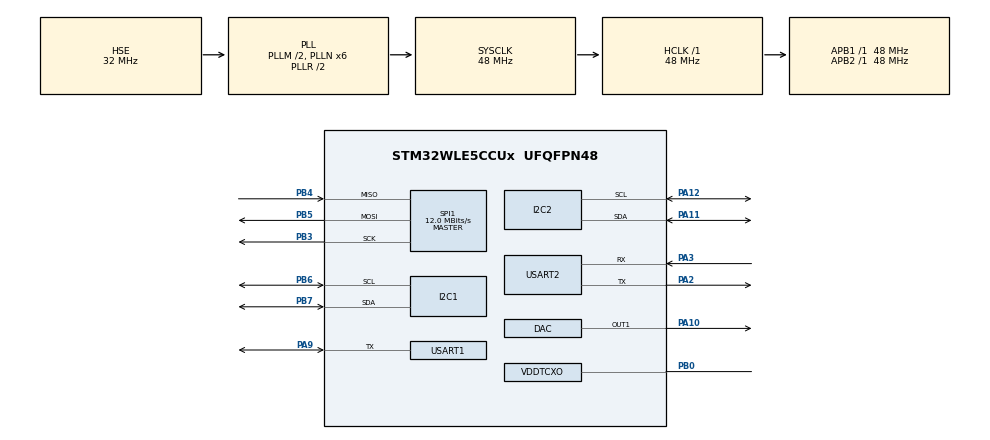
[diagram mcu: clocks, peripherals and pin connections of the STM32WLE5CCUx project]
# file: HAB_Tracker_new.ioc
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DAC.DAC_Trigger-DAC_OUT1_ExtAndInt=DAC_TRIGGER_LPTIM2_OUT
Dma.DAC_OUT1.0.Direction=DMA_MEMORY_TO_PERIPH
Dma.DAC_OUT1.0.EventEnable=DISABLE
Dma.DAC_OUT1.0.Instance=DMA1_Channel1
Dma.DAC_OUT1.0.MemDataAlignment=DMA_MDATAALIGN_BYTE
Dma.DAC_OUT1.0.MemInc=DMA_MINC_ENABLE
Dma.DAC_OUT1.0.Mode=DMA_CIRCULAR
Dma.DAC_OUT1.0.PeriphDataAlignment=DMA_PDATAALIGN_BYTE
Dma.DAC_OUT1.0.PeriphInc=DMA_PINC_DISABLE
Dma.DAC_OUT1.0.Polarity=HAL_DMAMUX_REQ_GEN_RISING
Dma.DAC_OUT1.0.Priority=DMA_PRIORITY_VERY_HIGH
Dma.DAC_OUT1.0.RequestNumber=1
Dma.DAC_OUT1.0.SignalID=NONE
Dma.DAC_OUT1.0.SyncEnable=DISABLE
Dma.DAC_OUT1.0.SyncPolarity=HAL_DMAMUX_SYNC_NO_EVENT
Dma.DAC_OUT1.0.SyncRequestNumber=1
Dma.DAC_OUT1.0.SyncSignalID=NONE
Dma.Request0=DAC_OUT1
Dma.Request1=USART1_TX
Dma.Request2=USART1_RX
Dma.USART1_RX.2.Direction=DMA_PERIPH_TO_MEMORY
Dma.USART1_RX.2.EventEnable=DISABLE
Dma.USART1_RX.2.Instance=DMA2_Channel2
Dma.USART1_RX.2.MemDataAlignment=DMA_MDATAALIGN_BYTE
Dma.USART1_RX.2.MemInc=DMA_MINC_ENABLE
Dma.USART1_RX.2.Mode=DMA_NORMAL
Dma.USART1_RX.2.PeriphDataAlignment=DMA_PDATAALIGN_BYTE
Dma.USART1_RX.2.PeriphInc=DMA_PINC_DISABLE
Dma.USART1_RX.2.Polarity=HAL_DMAMUX_REQ_GEN_RISING
Dma.USART1_RX.2.Priority=DMA_PRIORITY_LOW
Dma.USART1_RX.2.RequestNumber=1
Dma.USART1_RX.2.SignalID=NONE
Dma.USART1_RX.2.SyncEnable=DISABLE
Dma.USART1_RX.2.SyncPolarity=HAL_DMAMUX_SYNC_NO_EVENT
Dma.USART1_RX.2.SyncRequestNumber=1
Dma.USART1_RX.2.SyncSignalID=NONE
Dma.USART1_TX.1.Direction=DMA_MEMORY_TO_PERIPH
Dma.USART1_TX.1.EventEnable=DISABLE
Dma.USART1_TX.1.Instance=DMA2_Channel1
Dma.USART1_TX.1.MemDataAlignment=DMA_MDATAALIGN_BYTE
Dma.USART1_TX.1.MemInc=DMA_MINC_ENABLE
Dma.USART1_TX.1.Mode=DMA_NORMAL
Dma.USART1_TX.1.PeriphDataAlignment=DMA_PDATAALIGN_BYTE
Dma.USART1_TX.1.PeriphInc=DMA_PINC_DISABLE
Dma.USART1_TX.1.Polarity=HAL_DMAMUX_REQ_GEN_RISING
Dma.USART1_TX.1.Priority=DMA_PRIORITY_LOW
Dma.USART1_TX.1.RequestNumber=1
Dma.USART1_TX.1.SignalID=NONE
Dma.USART1_TX.1.SyncEnable=DISABLE
Dma.USART1_TX.1.SyncPolarity=HAL_DMAMUX_SYNC_NO_EVENT
Dma.USART1_TX.1.SyncRequestNumber=1
Dma.USART1_TX.1.SyncSignalID=NONE
I2C1.Timing=0x00303D5B
I2C2.Timing=0x00303D5B
LPTIM1.ClockPrescaler=LPTIM_PRESCALER_DIV16
LPTIM2.ClockPrescaler=LPTIM_PRESCALER_DIV1
Mcu.Family=STM32WL
Mcu.Name=STM32WLE5CCUx
Mcu.Package=UFQFPN48
NVIC.DMA1_Channel1_IRQn=true\:0\:0\:false\:false\:true\:false\:true\:true
NVIC.DMA2_Channel1_IRQn=true\:0\:0\:false\:false\:true\:false\:true\:true
NVIC.DMA2_Channel2_IRQn=true\:0\:0\:false\:false\:true\:false\:true\:true
NVIC.LPTIM1_IRQn=true\:5\:0\:true\:false\:true\:true\:true\:true
NVIC.PriorityGroup=NVIC_PRIORITYGROUP_4
NVIC.SUBGHZ_Radio_IRQn=true\:0\:0\:false\:false\:true\:true\:true\:true
OSC_IN.Mode=HSE-TCXO
OSC_IN.Signal=RCC_OSC_IN
PA10.Signal=COMP_DAC1_group
PA11.Mode=I2C
PA11.Signal=I2C2_SDA
PA12.Mode=I2C
PA12.Signal=I2C2_SCL
PA2.Mode=Asynchronous
PA2.Signal=USART2_TX
PA3.Mode=Asynchronous
PA3.Signal=USART2_RX
PA9.Mode=Half_duplex(single_wire_mode)
PA9.Signal=USART1_TX
PB0-VDD_TCXO.Mode=HSE-TCXO
PB0-VDD_TCXO.Signal=VDDTCXO
PB3.Mode=Full_Duplex_Master
PB3.Signal=SPI1_SCK
PB4.Mode=Full_Duplex_Master
PB4.Signal=SPI1_MISO
PB5.Mode=Full_Duplex_Master
PB5.Signal=SPI1_MOSI
PB6.Mode=I2C
PB6.Signal=I2C1_SCL
PB7.Mode=I2C
PB7.Signal=I2C1_SDA
PC14-OSC32_IN.Mode=LSE-External-Oscillator
PC14-OSC32_IN.Signal=RCC_OSC32_IN
PC15-OSC32_OUT.Mode=LSE-External-Oscillator
PC15-OSC32_OUT.Signal=RCC_OSC32_OUT
ProjectManager.HeapSize=0x200
ProjectManager.StackSize=0x400
ProjectManager.TargetToolchain=STM32CubeIDE
RCC.AHBFreq_Value=48000000
RCC.APB1Freq_Value=48000000
RCC.APB1TimFreq_Value=48000000
RCC.APB2Freq_Value=48000000
RCC.APB2TimFreq_Value=48000000
RCC.APB3Freq_Value=48000000
RCC.CortexFreq_Value=48000000
RCC.HCLKFreq_Value=48000000
RCC.HSE_VALUE=32000000
RCC.HSI_VALUE=16000000
RCC.I2C1CLockSelection=RCC_I2C1CLKSOURCE_HSI
RCC.I2C2CLockSelection=RCC_I2C2CLKSOURCE_HSI
RCC.LPTIM1CLockSelection=RCC_LPTIM1CLKSOURCE_HSI
RCC.LSE_VALUE=32768
RCC.MSIClockRange=RCC_MSIRANGE_10
RCC.PLLM=RCC_PLLM_DIV2
RCC.PLLN=6
RCC.PLLSourceVirtual=RCC_PLLSOURCE_HSE
RCC.RTCClockSelection=RCC_RTCCLKSOURCE_LSE
RCC.SYSCLKFreq_VALUE=48000000
RCC.SYSCLKSource=RCC_SYSCLKSOURCE_PLLCLK
RCC.VCOOutputFreq_Value=96000000
SH.COMP_DAC1_group.0=DAC_OUT1,DAC_OUT1_ExtAndInt
SPI1.BaudRatePrescaler=SPI_BAUDRATEPRESCALER_4
SPI1.CalculateBaudRate=12.0 MBits/s
SPI1.DataSize=SPI_DATASIZE_8BIT
SPI1.Direction=SPI_DIRECTION_2LINES
SPI1.Mode=SPI_MODE_MASTER
SPI1.VirtualType=VM_MASTER
TIM1.Period=0xffff
TIM1.Prescaler=47
TIM1.TIM_MasterOutputTrigger=TIM_TRGO_UPDATE
TIM1.TIM_MasterSlaveMode=TIM_MASTERSLAVEMODE_DISABLE
TIM2.Period=0xffffffff
USART1.VirtualMode-Half_duplex(single_wire_mode)=VM_ASYNC
USART2.VirtualMode-Asynchronous=VM_ASYNC
VP_LPTIM1_VS_LPTIM_counterModeInternalClock.Mode=Counts__internal_clock_event_00
VP_LPTIM2_VS_LPTIM_counterModeInternalClock.Mode=Counts__internal_clock_event_00
VP_SUBGHZ_VS_SUBGHZ.Mode=SUBGHZ_Activate
VP_TIM1_VS_ClockSourceINT.Mode=Internal
VP_TIM2_VS_ClockSourceITR.Mode=TriggerSource_ITR0
VP_TIM2_VS_ControllerModeClock.Mode=Clock Mode
board=custom

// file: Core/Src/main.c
/* USER CODE BEGIN Header */
/**
  ******************************************************************************
  * @file           : main.c
  * @brief          : Main program body
  ******************************************************************************
  * @attention
  *
  * Copyright (c) 2023 STMicroelectronics.
  * All rights reserved.
  *
  * This software is licensed under terms that can be found in the LICENSE file
  * in the root directory of this software component.
  * If no LICENSE file comes with this software, it is provided AS-IS.
  *
  ******************************************************************************
  */
/* USER CODE END Header */
#include "main.h"

/* USER CODE BEGIN Includes */
#include "hab_program.h"
#include "hab_timer.h"
#include <stdio.h>
#include "peripherals/one-wire/one-wire.h"
/* USER CODE END Includes */

DAC_HandleTypeDef hdac;
DMA_HandleTypeDef hdma_dac_out1;

I2C_HandleTypeDef hi2c1;
I2C_HandleTypeDef hi2c2;

LPTIM_HandleTypeDef hlptim1;
LPTIM_HandleTypeDef hlptim2;

SPI_HandleTypeDef hspi1;

SUBGHZ_HandleTypeDef hsubghz;

TIM_HandleTypeDef htim1;
TIM_HandleTypeDef htim2;

UART_HandleTypeDef huart1;
UART_HandleTypeDef huart2;
DMA_HandleTypeDef hdma_usart1_tx;
DMA_HandleTypeDef hdma_usart1_rx;

void SystemClock_Config(void);
static void MX_GPIO_Init(void);
/* USER CODE BEGIN PFP */
#define PUTCHAR_PROTOTYPE int __io_putchar(int ch)
/* USER CODE END PFP */

int main(void)
{

  /* MCU Configuration--------------------------------------------------------*/

  /* Reset of all peripherals, Initializes the Flash interface and the Systick. */
  HAL_Init();

  /* Configure the system clock */
  SystemClock_Config();

  /* Initialize all configured peripherals */
  MX_GPIO_Init();
  MX_DMA_Init();
  MX_DAC_Init();
  MX_I2C1_Init();
  MX_I2C2_Init();
  MX_SPI1_Init();
  MX_TIM1_Init();
  MX_TIM2_Init();
  MX_LPTIM2_Init();
  MX_USART2_UART_Init();
  MX_USART1_UART_Init();
  MX_LPTIM1_Init();
  /* USER CODE BEGIN 2 */
  init_timers();
  hab_init();
  while(1)
  {
	  hab_loop();
  }
  /* USER CODE END 2 */

  /* Infinite loop */

    /* USER CODE BEGIN 3 */
    return 0;
  /* USER CODE END 3 */
}

void SystemClock_Config(void)
{
  RCC_OscInitTypeDef RCC_OscInitStruct = {0};
  RCC_ClkInitTypeDef RCC_ClkInitStruct = {0};

  /** Configure the main internal regulator output voltage
  */
  __HAL_PWR_VOLTAGESCALING_CONFIG(PWR_REGULATOR_VOLTAGE_SCALE1);

  /** Initializes the CPU, AHB and APB buses clocks
  */
  RCC_OscInitStruct.OscillatorType = RCC_OSCILLATORTYPE_HSI|RCC_OSCILLATORTYPE_HSE;
  RCC_OscInitStruct.HSEState = RCC_HSE_BYPASS_PWR;
  RCC_OscInitStruct.HSIState = RCC_HSI_ON;
  RCC_OscInitStruct.HSICalibrationValue = RCC_HSICALIBRATION_DEFAULT;
  RCC_OscInitStruct.HSEDiv = RCC_HSE_DIV1;
  RCC_OscInitStruct.PLL.PLLState = RCC_PLL_ON;
  RCC_OscInitStruct.PLL.PLLSource = RCC_PLLSOURCE_HSE;
  RCC_OscInitStruct.PLL.PLLM = RCC_PLLM_DIV2;
  RCC_OscInitStruct.PLL.PLLN = 6;
  RCC_OscInitStruct.PLL.PLLP = RCC_PLLP_DIV2;
  RCC_OscInitStruct.PLL.PLLR = RCC_PLLR_DIV2;
  RCC_OscInitStruct.PLL.PLLQ = RCC_PLLQ_DIV2;
  if (HAL_RCC_OscConfig(&RCC_OscInitStruct) != HAL_OK)
  {
    Error_Handler();
  }

  /** Configure the SYSCLKSource, HCLK, PCLK1 and PCLK2 clocks dividers
  */
  RCC_ClkInitStruct.ClockType = RCC_CLOCKTYPE_HCLK3|RCC_CLOCKTYPE_HCLK
                              |RCC_CLOCKTYPE_SYSCLK|RCC_CLOCKTYPE_PCLK1
                              |RCC_CLOCKTYPE_PCLK2;
  RCC_ClkInitStruct.SYSCLKSource = RCC_SYSCLKSOURCE_PLLCLK;
  RCC_ClkInitStruct.AHBCLKDivider = RCC_SYSCLK_DIV1;
  RCC_ClkInitStruct.APB1CLKDivider = RCC_HCLK_DIV1;
  RCC_ClkInitStruct.APB2CLKDivider = RCC_HCLK_DIV1;
  RCC_ClkInitStruct.AHBCLK3Divider = RCC_SYSCLK_DIV1;

  if (HAL_RCC_ClockConfig(&RCC_ClkInitStruct, FLASH_LATENCY_2) != HAL_OK)
  {
    Error_Handler();
  }
}

void MX_DAC_Init(void)
{

  DAC_ChannelConfTypeDef sConfig = {0};

  /** DAC Initialization
  */
  hdac.Instance = DAC;
  if (HAL_DAC_Init(&hdac) != HAL_OK)
  {
    Error_Handler();
  }

  /** DAC channel OUT1 config
  */
  sConfig.DAC_SampleAndHold = DAC_SAMPLEANDHOLD_DISABLE;
  sConfig.DAC_Trigger = DAC_TRIGGER_LPTIM2_OUT;
  sConfig.DAC_OutputBuffer = DAC_OUTPUTBUFFER_ENABLE;
  sConfig.DAC_ConnectOnChipPeripheral = DAC_CHIPCONNECT_ENABLE;
  sConfig.DAC_UserTrimming = DAC_TRIMMING_FACTORY;
  if (HAL_DAC_ConfigChannel(&hdac, &sConfig, DAC_CHANNEL_1) != HAL_OK)
  {
    Error_Handler();
  }

}

void MX_I2C1_Init(void)
{

  hi2c1.Instance = I2C1;
  hi2c1.Init.Timing = 0x00303D5B;
  hi2c1.Init.OwnAddress1 = 0;
  hi2c1.Init.AddressingMode = I2C_ADDRESSINGMODE_7BIT;
  hi2c1.Init.DualAddressMode = I2C_DUALADDRESS_DISABLE;
  hi2c1.Init.OwnAddress2 = 0;
  hi2c1.Init.OwnAddress2Masks = I2C_OA2_NOMASK;
  hi2c1.Init.GeneralCallMode = I2C_GENERALCALL_DISABLE;
  hi2c1.Init.NoStretchMode = I2C_NOSTRETCH_DISABLE;
  if (HAL_I2C_Init(&hi2c1) != HAL_OK)
  {
    Error_Handler();
  }

  /** Configure Analogue filter
  */
  if (HAL_I2CEx_ConfigAnalogFilter(&hi2c1, I2C_ANALOGFILTER_ENABLE) != HAL_OK)
  {
    Error_Handler();
  }

  /** Configure Digital filter
  */
  if (HAL_I2CEx_ConfigDigitalFilter(&hi2c1, 0) != HAL_OK)
  {
    Error_Handler();
  }

}

void MX_I2C2_Init(void)
{

  hi2c2.Instance = I2C2;
  hi2c2.Init.Timing = 0x00303D5B;
  hi2c2.Init.OwnAddress1 = 0;
  hi2c2.Init.AddressingMode = I2C_ADDRESSINGMODE_7BIT;
  hi2c2.Init.DualAddressMode = I2C_DUALADDRESS_DISABLE;
  hi2c2.Init.OwnAddress2 = 0;
  hi2c2.Init.OwnAddress2Masks = I2C_OA2_NOMASK;
  hi2c2.Init.GeneralCallMode = I2C_GENERALCALL_DISABLE;
  hi2c2.Init.NoStretchMode = I2C_NOSTRETCH_DISABLE;
  if (HAL_I2C_Init(&hi2c2) != HAL_OK)
  {
    Error_Handler();
  }

  /** Configure Analogue filter
  */
  if (HAL_I2CEx_ConfigAnalogFilter(&hi2c2, I2C_ANALOGFILTER_ENABLE) != HAL_OK)
  {
    Error_Handler();
  }

  /** Configure Digital filter
  */
  if (HAL_I2CEx_ConfigDigitalFilter(&hi2c2, 0) != HAL_OK)
  {
    Error_Handler();
  }

}

void MX_LPTIM1_Init(void)
{

  hlptim1.Instance = LPTIM1;
  hlptim1.Init.Clock.Source = LPTIM_CLOCKSOURCE_APBCLOCK_LPOSC;
  hlptim1.Init.Clock.Prescaler = LPTIM_PRESCALER_DIV128;
  hlptim1.Init.Trigger.Source = LPTIM_TRIGSOURCE_SOFTWARE;
  hlptim1.Init.OutputPolarity = LPTIM_OUTPUTPOLARITY_HIGH;
  hlptim1.Init.UpdateMode = LPTIM_UPDATE_IMMEDIATE;
  hlptim1.Init.CounterSource = LPTIM_COUNTERSOURCE_INTERNAL;
  hlptim1.Init.Input1Source = LPTIM_INPUT1SOURCE_GPIO;
  hlptim1.Init.Input2Source = LPTIM_INPUT2SOURCE_GPIO;
  if (HAL_LPTIM_Init(&hlptim1) != HAL_OK)
  {
    Error_Handler();
  }

}

void MX_LPTIM2_Init(void)
{

  hlptim2.Instance = LPTIM2;
  hlptim2.Init.Clock.Source = LPTIM_CLOCKSOURCE_APBCLOCK_LPOSC;
  hlptim2.Init.Clock.Prescaler = LPTIM_PRESCALER_DIV1;
  hlptim2.Init.Trigger.Source = LPTIM_TRIGSOURCE_SOFTWARE;
  hlptim2.Init.OutputPolarity = LPTIM_OUTPUTPOLARITY_HIGH;
  hlptim2.Init.UpdateMode = LPTIM_UPDATE_IMMEDIATE;
  hlptim2.Init.CounterSource = LPTIM_COUNTERSOURCE_INTERNAL;
  hlptim2.Init.Input1Source = LPTIM_INPUT1SOURCE_GPIO;
  hlptim2.Init.Input2Source = LPTIM_INPUT2SOURCE_GPIO;
  if (HAL_LPTIM_Init(&hlptim2) != HAL_OK)
  {
    Error_Handler();
  }

}

void MX_SPI1_Init(void)
{

  /* SPI1 parameter configuration*/
  hspi1.Instance = SPI1;
  hspi1.Init.Mode = SPI_MODE_MASTER;
  hspi1.Init.Direction = SPI_DIRECTION_2LINES;
  hspi1.Init.DataSize = SPI_DATASIZE_8BIT;
  hspi1.Init.CLKPolarity = SPI_POLARITY_LOW;
  hspi1.Init.CLKPhase = SPI_PHASE_1EDGE;
  hspi1.Init.NSS = SPI_NSS_SOFT;
  hspi1.Init.BaudRatePrescaler = SPI_BAUDRATEPRESCALER_4;
  hspi1.Init.FirstBit = SPI_FIRSTBIT_MSB;
  hspi1.Init.TIMode = SPI_TIMODE_DISABLE;
  hspi1.Init.CRCCalculation = SPI_CRCCALCULATION_DISABLE;
  hspi1.Init.CRCPolynomial = 7;
  hspi1.Init.CRCLength = SPI_CRC_LENGTH_DATASIZE;
  hspi1.Init.NSSPMode = SPI_NSS_PULSE_ENABLE;
  if (HAL_SPI_Init(&hspi1) != HAL_OK)
  {
    Error_Handler();
  }

}

void MX_SUBGHZ_Init(void)
{

  hsubghz.Init.BaudratePrescaler = SUBGHZSPI_BAUDRATEPRESCALER_8;
  if (HAL_SUBGHZ_Init(&hsubghz) != HAL_OK)
  {
    Error_Handler();
  }

}

void MX_TIM1_Init(void)
{

  TIM_ClockConfigTypeDef sClockSourceConfig = {0};
  TIM_MasterConfigTypeDef sMasterConfig = {0};

  htim1.Instance = TIM1;
  htim1.Init.Prescaler = 47;
  htim1.Init.CounterMode = TIM_COUNTERMODE_UP;
  htim1.Init.Period = 0xffff;
  htim1.Init.ClockDivision = TIM_CLOCKDIVISION_DIV1;
  htim1.Init.RepetitionCounter = 0;
  htim1.Init.AutoReloadPreload = TIM_AUTORELOAD_PRELOAD_DISABLE;
  if (HAL_TIM_Base_Init(&htim1) != HAL_OK)
  {
    Error_Handler();
  }
  sClockSourceConfig.ClockSource = TIM_CLOCKSOURCE_INTERNAL;
  if (HAL_TIM_ConfigClockSource(&htim1, &sClockSourceConfig) != HAL_OK)
  {
    Error_Handler();
  }
  sMasterConfig.MasterOutputTrigger = TIM_TRGO_UPDATE;
  sMasterConfig.MasterOutputTrigger2 = TIM_TRGO2_RESET;
  sMasterConfig.MasterSlaveMode = TIM_MASTERSLAVEMODE_DISABLE;
  if (HAL_TIMEx_MasterConfigSynchronization(&htim1, &sMasterConfig) != HAL_OK)
  {
    Error_Handler();
  }

}

void MX_TIM2_Init(void)
{

  TIM_SlaveConfigTypeDef sSlaveConfig = {0};
  TIM_MasterConfigTypeDef sMasterConfig = {0};

  htim2.Instance = TIM2;
  htim2.Init.Prescaler = 0;
  htim2.Init.CounterMode = TIM_COUNTERMODE_UP;
  htim2.Init.Period = 0xffffffff;
  htim2.Init.ClockDivision = TIM_CLOCKDIVISION_DIV1;
  htim2.Init.AutoReloadPreload = TIM_AUTORELOAD_PRELOAD_DISABLE;
  if (HAL_TIM_Base_Init(&htim2) != HAL_OK)
  {
    Error_Handler();
  }
  sSlaveConfig.SlaveMode = TIM_SLAVEMODE_EXTERNAL1;
  sSlaveConfig.InputTrigger = TIM_TS_ITR0;
  if (HAL_TIM_SlaveConfigSynchro(&htim2, &sSlaveConfig) != HAL_OK)
  {
    Error_Handler();
  }
  sMasterConfig.MasterOutputTrigger = TIM_TRGO_RESET;
  sMasterConfig.MasterSlaveMode = TIM_MASTERSLAVEMODE_DISABLE;
  if (HAL_TIMEx_MasterConfigSynchronization(&htim2, &sMasterConfig) != HAL_OK)
  {
    Error_Handler();
  }

}

void MX_USART1_UART_Init(void)
{

  huart1.Instance = USART1;
  huart1.Init.BaudRate = 115200;
  huart1.Init.WordLength = UART_WORDLENGTH_8B;
  huart1.Init.StopBits = UART_STOPBITS_1;
  huart1.Init.Parity = UART_PARITY_NONE;
  huart1.Init.Mode = UART_MODE_TX_RX;
  huart1.Init.HwFlowCtl = UART_HWCONTROL_NONE;
  huart1.Init.OverSampling = UART_OVERSAMPLING_16;
  huart1.Init.OneBitSampling = UART_ONE_BIT_SAMPLE_DISABLE;
  huart1.Init.ClockPrescaler = UART_PRESCALER_DIV1;
  huart1.AdvancedInit.AdvFeatureInit = UART_ADVFEATURE_NO_INIT;
  if (HAL_HalfDuplex_Init(&huart1) != HAL_OK)
  {
    Error_Handler();
  }
  if (HAL_UARTEx_SetTxFifoThreshold(&huart1, UART_TXFIFO_THRESHOLD_1_8) != HAL_OK)
  {
    Error_Handler();
  }
  if (HAL_UARTEx_SetRxFifoThreshold(&huart1, UART_RXFIFO_THRESHOLD_1_8) != HAL_OK)
  {
    Error_Handler();
  }
  if (HAL_UARTEx_DisableFifoMode(&huart1) != HAL_OK)
  {
    Error_Handler();
  }

}

void MX_USART2_UART_Init(void)
{

  huart2.Instance = USART2;
  huart2.Init.BaudRate = 115200;
  huart2.Init.WordLength = UART_WORDLENGTH_8B;
  huart2.Init.StopBits = UART_STOPBITS_1;
  huart2.Init.Parity = UART_PARITY_NONE;
  huart2.Init.Mode = UART_MODE_TX_RX;
  huart2.Init.HwFlowCtl = UART_HWCONTROL_NONE;
  huart2.Init.OverSampling = UART_OVERSAMPLING_16;
  huart2.Init.OneBitSampling = UART_ONE_BIT_SAMPLE_DISABLE;
  huart2.Init.ClockPrescaler = UART_PRESCALER_DIV1;
  huart2.AdvancedInit.AdvFeatureInit = UART_ADVFEATURE_NO_INIT;
  if (HAL_UART_Init(&huart2) != HAL_OK)
  {
    Error_Handler();
  }
  if (HAL_UARTEx_SetTxFifoThreshold(&huart2, UART_TXFIFO_THRESHOLD_1_8) != HAL_OK)
  {
    Error_Handler();
  }
  if (HAL_UARTEx_SetRxFifoThreshold(&huart2, UART_RXFIFO_THRESHOLD_1_8) != HAL_OK)
  {
    Error_Handler();
  }
  if (HAL_UARTEx_DisableFifoMode(&huart2) != HAL_OK)
  {
    Error_Handler();
  }

}

void MX_DMA_Init(void)
{

  /* DMA controller clock enable */
  __HAL_RCC_DMAMUX1_CLK_ENABLE();
  __HAL_RCC_DMA1_CLK_ENABLE();
  __HAL_RCC_DMA2_CLK_ENABLE();

  /* DMA interrupt init */
  /* DMA1_Channel1_IRQn interrupt configuration */
  HAL_NVIC_SetPriority(DMA1_Channel1_IRQn, 0, 0);
  HAL_NVIC_EnableIRQ(DMA1_Channel1_IRQn);
  /* DMA2_Channel1_IRQn interrupt configuration */
  HAL_NVIC_SetPriority(DMA2_Channel1_IRQn, 0, 0);
  HAL_NVIC_EnableIRQ(DMA2_Channel1_IRQn);
  /* DMA2_Channel2_IRQn interrupt configuration */
  HAL_NVIC_SetPriority(DMA2_Channel2_IRQn, 0, 0);
  HAL_NVIC_EnableIRQ(DMA2_Channel2_IRQn);

}

static void MX_GPIO_Init(void)
{
/* USER CODE BEGIN MX_GPIO_Init_1 */
  __HAL_RCC_GPIOH_CLK_ENABLE();
/* USER CODE END MX_GPIO_Init_1 */

  /* GPIO Ports Clock Enable */
  __HAL_RCC_GPIOB_CLK_ENABLE();
  __HAL_RCC_GPIOA_CLK_ENABLE();
  __HAL_RCC_GPIOC_CLK_ENABLE();

}

/* USER CODE BEGIN 4 */
/**
  * @brief  Retargets the C library printf function to the USART.
  * @param  None
  * @retval None
  */
PUTCHAR_PROTOTYPE
{
  /* Place your implementation of fputc here */
  /* e.g. write a character to the USART1 and Loop until the end of transmission */
  HAL_UART_Transmit(&huart2, (uint8_t *)&ch, 1, 0xFFFF);

  return ch;
}

void HAL_UART_TxCpltCallback(UART_HandleTypeDef *huart)
{
	if(huart->Instance == USART1)
	{
		onewire_tx_callback();
	}
}

void HAL_UART_RxCpltCallback(UART_HandleTypeDef *huart)
{
	if(huart->Instance == USART1)
	{
		onewire_rx_callback();
	}
}

/* USER CODE END 4 */

void Error_Handler(void)
{
  /* USER CODE BEGIN Error_Handler_Debug */
  /* User can add his own implementation to report the HAL error return state */
  NVIC_SystemReset();
  /* USER CODE END Error_Handler_Debug */
}
